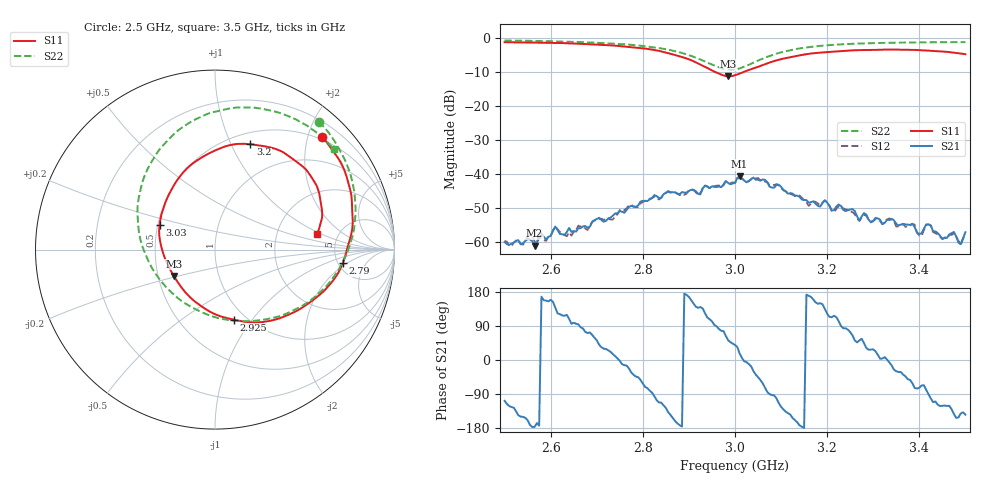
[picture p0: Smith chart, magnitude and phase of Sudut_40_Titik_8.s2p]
# Hz S RI R 50
! CMT, C1220, 16058040, 17.2.0/1
! Date: 15/08/2018 09:54:12
! Data: Format (Calibration Info)
! Freq  S11: Re/Im (F2)  S21: Re/Im (F2)  S12: Re/Im (F2)  S22: Re/Im (F2)
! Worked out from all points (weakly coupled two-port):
!   201 points, 2.5 GHz to 3.5 GHz, reference 50 ohm
!   highest |S21| = -40.67 dB at 3.01 GHz (marker M1); lowest = -61.1 dB at 2.565 GHz (marker M2)
!   lowest |S11| = -11.3 dB at 2.985 GHz (marker M3), VSWR 1.75, Z = 30.2 - j9.61 ohm
!   |S11| at or under -10 dB: 2.957 GHz to 3.019 GHz (61.84 MHz wide, 2.07 % of centre)
!   |S22| runs from -9.4 to -0.7 dB; largest |S21 - S12| = 0.0007
!   S11 on the Smith chart (normalised r, x): 2.5 GHz: 0.45, +2.26; 2.79 GHz: 5.51, -1.69; 2.925 GHz: 0.88, -0.82; 3.03 GHz: 0.51, +0.16; 3.2 GHz: 0.62, +1.19; 3.5 GHz: 3.45, +0.92
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2.5e9  0.5983 0.6268  -0.000306 -0.000953  -0.00033 -0.00098  0.5788 0.713
2.565e9  0.6698 0.5318  -0.000883 -5.23e-05  -0.00102 0.000129  0.6498 0.629
2.61e9  0.7169 0.4515  -0.00126 0.00113  -0.00126 0.00111  0.6943 0.5559
2.635e9  0.7371 0.3926  -0.000686 0.00123  -0.00046 0.00113  0.7175 0.5119
2.67e9  0.7586 0.3079  0.000201 0.00168  0.000333 0.00162  0.7482 0.4391
2.79e9  0.7121 -0.0748  0.00242 -0.00246  0.0022 -0.00243  0.7703 0.09
2.835e9  0.6004 -0.2368  -0.00165 -0.00408  -0.00147 -0.00396  0.7049 -0.083
2.925e9  0.1042 -0.3898  -0.004 0.00337  -0.00395 0.00314  0.2852 -0.388
2.985e9  -0.2293 -0.1473  0.00451 0.00586  0.00437 0.00611  -0.1767 -0.2934
3e9  -0.2782 -0.0511  0.0057 0.00474  0.00594 0.0044  -0.2744 -0.2063
3.01e9  -0.2984 0.013  0.00884 0.00273  0.00844 0.00272  -0.3292 -0.1372
3.03e9  -0.3089 0.1364  0.00774 -0.00146  0.00766 -0.00154  -0.4028 0.0119
3.17e9  0.1039 0.5859  -0.0037 0.00138  -0.00378 0.00112  -0.0717 0.7432
3.2e9  0.197 0.5865  -0.00203 0.0032  -0.00199 0.0033  0.0413 0.7778
3.27e9  0.3825 0.5408  0.00129 0.00163  0.00128 0.00157  0.2631 0.7843
3.335e9  0.5079 0.4449  0.00209 -0.000247  0.00218 -0.000441  0.416 0.7407
3.4e9  0.5766 0.3265  0.000381 -0.00126  0.00027 -0.00121  0.5323 0.676
3.415e9  0.5845 0.2913  0.000342 -0.00178  0.000333 -0.00176  0.5565 0.6592
3.45e9  0.5971 0.206  -0.000569 -0.000949  -0.000594 -0.000936  0.6054 0.6189
3.475e9  0.5886 0.1493  -0.00111 -0.000858  -0.00103 -0.000846  0.6346 0.5894
3.49e9  0.5787 0.1122  -0.000719 -0.000584  -0.000725 -0.00057  0.6526 0.5707
3.5e9  0.5689 0.0891  -0.00113 -0.000814  -0.00106 -0.000702  0.6636 0.5589
